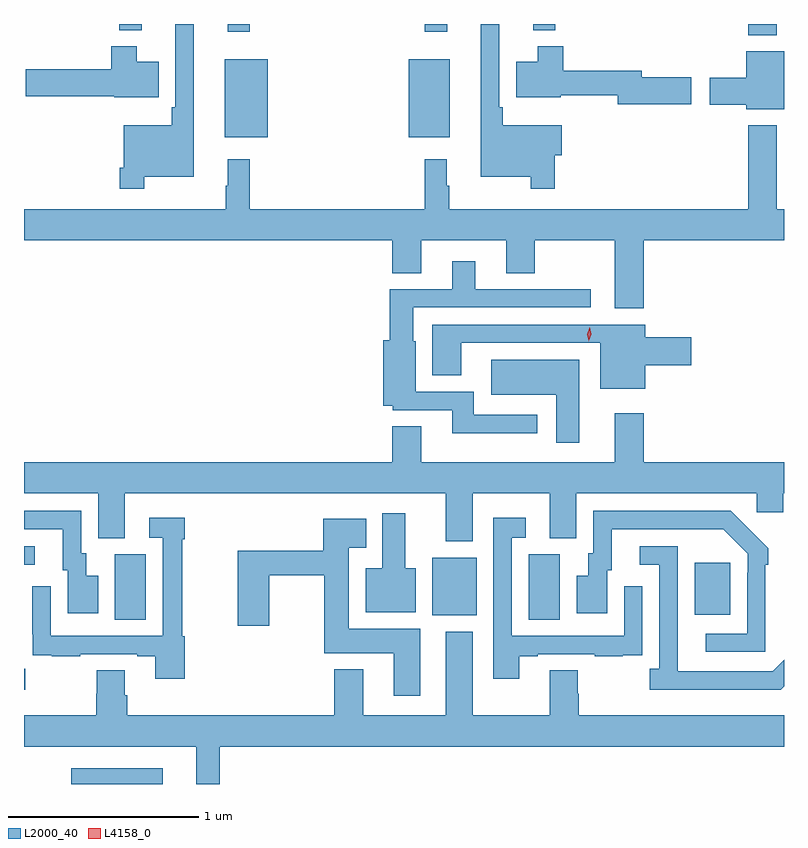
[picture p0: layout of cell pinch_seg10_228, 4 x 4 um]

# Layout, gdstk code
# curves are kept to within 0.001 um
import gdstk
lib = gdstk.Library(unit=1e-6, precision=1e-09)
def R(c, l, rs):  # rectangles x0, y0, x1, y1
    for r in rs: c.add(gdstk.rectangle(r[:2], r[2:], *l))
def P(c, l, *ps):  # polygons
    for p in ps: c.add(gdstk.Polygon(p, *l))
L2000_40 = (2000, 40)
L4158_0 = (4158, 0)

pinch_seg10_228 = lib.new_cell('pinch_seg10_228')
R(pinch_seg10_228, L2000_40, [(616.014,1297.455,616.495,1297.537), (615.766,1297.952,615.772,1298.062), (616.244,1298.32,616.408,1298.664), (618.422,1298.32,618.586,1298.664), (617.915,1298.342,618.148,1298.647), (619.295,1298.345,619.483,1298.62), (615.766,1298.61,615.823,1298.706), (616.823,1300.859,617.05,1301.269), (617.792,1300.859,618.007,1301.269), (619.577,1301.396,619.729,1301.455), (616.838,1301.415,616.955,1301.455), (617.875,1301.415,617.993,1301.455), (616.267,1301.423,616.385,1301.455), (618.446,1301.423,618.563,1301.455)])
P(pinch_seg10_228, L2000_40, [(616.399,1300.652),(616.66,1300.652),(616.66,1301.455),(616.563,1301.455),(616.563,1301.017),(616.543,1301.017),(616.543,1300.921),(616.29,1300.921),(616.29,1300.699),(616.27,1300.699),(616.27,1300.587),(616.399,1300.587)],
  [(618.56,1300.763),(618.595,1300.763),(618.595,1300.921),(618.287,1300.921),(618.287,1301.017),(618.267,1301.017),(618.267,1301.455),(618.17,1301.455),(618.17,1300.652),(618.432,1300.652),(618.432,1300.587),(618.56,1300.587)],
  [(619.279,1301.175),(619.018,1301.175),(619.018,1301.209),(618.605,1301.209),(618.605,1301.338),(618.47,1301.338),(618.47,1301.257),(618.356,1301.257),(618.356,1301.069),(618.592,1301.069),(618.592,1301.08),(618.89,1301.08),(618.89,1301.033),(619.279,1301.033)],
  [(616.474,1301.257),(616.36,1301.257),(616.36,1301.338),(616.226,1301.338),(616.226,1301.217),(615.774,1301.217),(615.774,1301.075),(616.242,1301.075),(616.242,1301.069),(616.474,1301.069)],
  [(619.766,1301.311),(619.568,1301.311),(619.568,1301.172),(619.374,1301.172),(619.374,1301.03),(619.568,1301.03),(619.568,1301.006),(619.766,1301.006)],
  [(619.028,1300.316),(619.766,1300.316),(619.766,1300.48),(619.729,1300.48),(619.729,1300.921),(619.577,1300.921),(619.577,1300.48),(618.004,1300.48),(618.004,1300.604),(617.992,1300.604),(617.992,1300.744),(617.875,1300.744),(617.875,1300.48),(616.955,1300.48),(616.955,1300.744),(616.838,1300.744),(616.838,1300.604),(616.827,1300.604),(616.827,1300.48),(615.766,1300.48),(615.766,1300.316),(617.705,1300.316),(617.705,1300.144),(617.857,1300.144),(617.857,1300.316),(618.305,1300.316),(618.305,1300.144),(618.453,1300.144),(618.453,1300.316),(618.875,1300.316),(618.875,1299.959),(619.028,1299.959)],
  [(618.466,1299.399),(618.133,1299.399),(618.133,1299.519),(617.827,1299.519),(617.827,1299.786),(617.815,1299.786),(617.815,1299.963),(618.748,1299.963),(618.748,1300.059),(618.142,1300.059),(618.142,1300.207),(618.02,1300.207),(618.02,1300.059),(617.69,1300.059),(617.69,1299.79),(617.657,1299.79),(617.657,1299.446),(617.706,1299.446),(617.706,1299.423),(618.02,1299.423),(618.02,1299.302),(618.466,1299.302)],
  [(619.036,1299.659),(619.279,1299.659),(619.279,1299.806),(619.036,1299.806),(619.036,1299.873),(617.915,1299.873),(617.915,1299.606),(618.067,1299.606),(618.067,1299.777),(618.8,1299.777),(618.8,1299.536),(619.036,1299.536)],
  [(618.688,1299.688),(618.224,1299.688),(618.224,1299.503),(618.566,1299.503),(618.566,1299.252),(618.688,1299.252)],
  [(618.127,1298.984),(618.533,1298.984),(618.533,1298.749),(618.673,1298.749),(618.673,1298.984),(619.623,1298.984),(619.623,1298.886),(619.762,1298.886),(619.762,1298.984),(619.766,1298.984),(619.766,1299.148),(619.028,1299.148),(619.028,1299.406),(618.875,1299.406),(618.875,1299.148),(617.857,1299.148),(617.857,1299.338),(617.705,1299.338),(617.705,1299.148),(615.766,1299.148),(615.766,1298.984),(616.157,1298.984),(616.157,1298.749),(616.297,1298.749),(616.297,1298.984),(617.987,1298.984),(617.987,1298.732),(618.127,1298.732)],
  [(616.156,1298.551),(616.093,1298.551),(616.093,1298.67),(616.068,1298.67),(616.068,1298.892),(615.766,1298.892),(615.766,1298.796),(615.971,1298.796),(615.971,1298.58),(615.995,1298.58),(615.995,1298.355),(616.156,1298.355)],
  [(619.668,1298.609),(619.683,1298.609),(619.683,1298.697),(619.486,1298.892),(618.762,1298.892),(618.762,1298.67),(618.737,1298.67),(618.737,1298.551),(618.674,1298.551),(618.674,1298.355),(618.835,1298.355),(618.835,1298.58),(618.859,1298.58),(618.859,1298.796),(619.447,1298.796),(619.575,1298.667),(619.575,1298.567),(619.572,1298.567),(619.572,1298.247),(619.353,1298.247),(619.353,1298.151),(619.668,1298.151)],
  [(617.827,1298.59),(617.773,1298.59),(617.773,1298.881),(617.651,1298.881),(617.651,1298.59),(617.564,1298.59),(617.564,1298.36),(617.827,1298.36)],
  [(618.373,1298.127),(618.469,1298.127),(618.469,1298.139),(618.769,1298.139),(618.769,1298.127),(618.917,1298.127),(618.917,1298.133),(619.019,1298.133),(619.019,1298.242),(619.02,1298.242),(619.02,1298.497),(618.924,1298.497),(618.924,1298.235),(618.333,1298.235),(618.333,1298.751),(618.406,1298.751),(618.406,1298.857),(618.237,1298.857),(618.237,1298.01),(618.373,1298.01)],
  [(616.613,1298.232),(616.598,1298.232),(616.598,1298.744),(616.613,1298.744),(616.613,1298.857),(616.425,1298.857),(616.425,1298.751),(616.497,1298.751),(616.497,1298.235),(615.906,1298.235),(615.906,1298.497),(615.81,1298.497),(615.81,1298.242),(615.811,1298.242),(615.811,1298.133),(615.913,1298.133),(615.913,1298.127),(616.061,1298.127),(616.061,1298.139),(616.361,1298.139),(616.361,1298.127),(616.457,1298.127),(616.457,1298.01),(616.613,1298.01)],
  [(617.851,1298.272),(617.476,1298.272),(617.476,1298.699),(617.566,1298.699),(617.566,1298.851),(617.342,1298.851),(617.342,1298.683),(616.892,1298.683),(616.892,1298.289),(617.058,1298.289),(617.058,1298.554),(617.347,1298.554),(617.347,1298.144),(617.711,1298.144),(617.711,1297.92),(617.851,1297.92)],
  [(619.766,1297.97),(619.766,1298.108),(619.707,1298.049),(619.207,1298.049),(619.206,1298.706),(619.008,1298.706),(619.008,1298.61),(619.11,1298.61),(619.11,1298.062),(619.059,1298.062),(619.059,1297.952),(619.748,1297.952)],
  [(616.795,1297.652),(619.766,1297.652),(619.766,1297.816),(618.686,1297.816),(618.686,1297.929),(618.681,1297.929),(618.681,1298.054),(618.533,1298.054),(618.533,1297.816),(618.127,1297.816),(618.127,1298.257),(617.987,1298.257),(617.987,1297.816),(617.551,1297.816),(617.551,1298.059),(617.399,1298.059),(617.399,1297.816),(616.31,1297.816),(616.31,1297.922),(616.297,1297.922),(616.297,1298.054),(616.15,1298.054),(616.15,1297.929),(616.145,1297.929),(616.145,1297.816),(615.766,1297.816),(615.766,1297.652),(616.673,1297.652),(616.673,1297.455),(616.795,1297.455)])
P(pinch_seg10_228, L4158_0, [(618.739,1299.786),(618.739,1299.787),(618.731,1299.823),(618.743,1299.858),(618.743,1299.859),(618.743,1299.858),(618.751,1299.822),(618.739,1299.787)])

lib.write_gds('pinch_seg10_228.gds')
